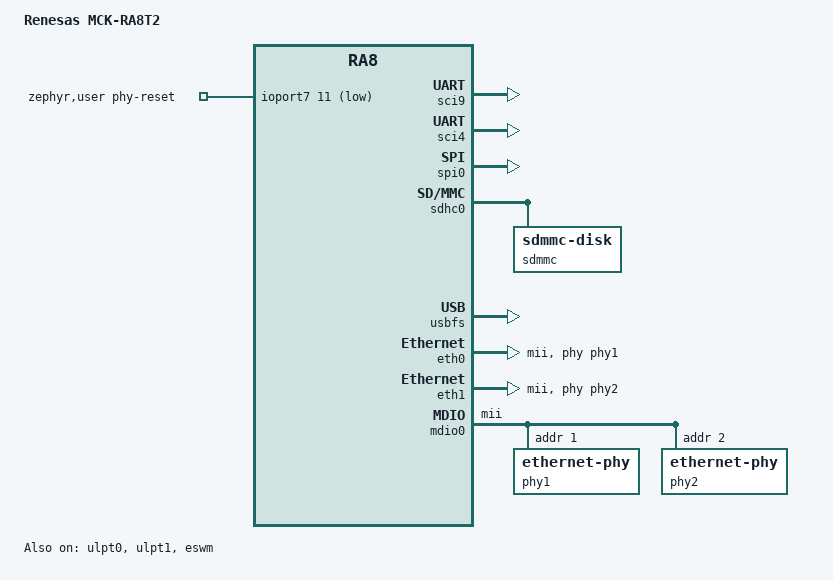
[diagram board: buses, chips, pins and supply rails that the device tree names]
/*
 * Copyright (c) 2025 Renesas Electronics Corporation
 * SPDX-License-Identifier: Apache-2.0
 */

/dts-v1/;

#include <renesas/ra/ra8/r7ka8t2lfecac_cm85.dtsi>
#include "mck_ra8t2.dtsi"

/ {
	model = "Renesas MCK-RA8T2";
	compatible = "renesas,ra8t2", "renesas,ra8";

	chosen {
		zephyr,sram = &sram0;
		zephyr,flash = &code_mram_cm85;
		zephyr,flash-controller = &mram_ctrl;
		zephyr,code-partition = &slot0_partition;
		zephyr,console = &uart9;
		zephyr,shell-uart = &uart9;
		zephyr,entropy = &trng;
	};

	aliases {
		led0 = &led1;
		sdhc0 = &sdhc0;
	};

	zephyr,user {
		phy-reset-gpios = <&ioport7 11 GPIO_ACTIVE_LOW>;
		phy-reset-assert-ms = <200>;
		phy-reset-deassert-ms = <35>;
	};
};

&sci9 {
	pinctrl-0 = <&sci9_default>;
	pinctrl-names = "default";
	interrupts = <0 1>, <1 1>, <2 1>, <3 1>;
	interrupt-names = "rxi", "txi", "tei", "eri";
	status = "okay";

	uart9: uart {
		current-speed = <115200>;
		status = "okay";
	};
};

&sci4 {
	pinctrl-0 = <&sci4_default>;
	pinctrl-names = "default";
	interrupts = <4 1>, <5 1>, <6 1>, <7 1>;
	interrupt-names = "rxi", "txi", "tei", "eri";
	status = "okay";

	uart4: uart {
		current-speed = <115200>;
		status = "okay";
	};
};

&spi0 {
	pinctrl-0 = <&spi0_default>;
	pinctrl-names = "default";
	interrupts = <8 1>, <9 1>, <10 1>, <11 1>;
	interrupt-names = "rxi", "txi", "tei", "eri";
	status = "okay";
};

&ulpt0 {
	interrupts = <12 1>;
	interrupt-names = "ulpti";
	status = "okay";

	timer {
		status = "okay";
	};
};

&ulpt1 {
	status = "okay";

	timer {
		status = "okay";
	};
};

&sdhc0 {
	pinctrl-0 = <&sdhc0_default>;
	pinctrl-names = "default";
	enable-gpios = <&ioportb 6 GPIO_ACTIVE_HIGH>;
	interrupt-names = "accs", "card", "dma-req";
	interrupts = <13 1>, <14 1>, <15 1>;
	status = "okay";

	sdmmc {
		compatible = "zephyr,sdmmc-disk";
		disk-name = "SD";
		status = "okay";
	};
};

&usbfs {
	pinctrl-0 = <&usbfs_default>;
	interrupts = <16 12>, <17 12>;
	interrupt-names = "usbfs-i", "usbfs-r";
	status = "okay";

	zephyr_udc0: udc {
		status = "okay";
	};
};

&code_mram_cm85 {
	partitions {
		compatible = "fixed-partitions";
		#address-cells = <1>;
		#size-cells = <1>;

		boot_partition: partition@0 {
			label = "mcuboot";
			reg = <0x0 DT_SIZE_K(64)>;
		};

		slot0_partition: partition@10000 {
			label = "image-0";
			reg = <0x10000 DT_SIZE_K(464)>;
		};

		slot1_partition: partition@84000 {
			label = "image-1";
			reg = <0x84000 DT_SIZE_K(464)>;
		};

		storage_partition: partition@f8000 {
			label = "storage";
			reg = <0xf8000 DT_SIZE_K(32)>;
		};
	};
};

&eswm {
	status = "okay";
	interrupts = <18 1>;
	interrupt-names = "gwdi";
	pinctrl-0 = <&ethphyclk_default>;
	pinctrl-names = "default";
};

&eth0 {
	phy-connection-type = "mii";
	local-mac-address = [74 90 50 01 02 05];
	phy-clock = <&ethphyclk>;
	phy-clock-type = "internal";
	phy-handle = <&phy1>;
	pinctrl-0 = <&eth0_default>;
	pinctrl-names = "default";
	status = "okay";
};

&eth1 {
	phy-connection-type = "mii";
	local-mac-address = [74 90 50 01 02 06];
	phy-clock = <&ethphyclk>;
	phy-clock-type = "internal";
	phy-handle = <&phy2>;
	pinctrl-0 = <&eth1_default>;
	pinctrl-names = "default";
	status = "okay";
};

&mdio0 {
	pinctrl-0 = <&mdio0_default>;
	pinctrl-names = "default";
	phy-connection-type = "mii";
	status = "okay";

	phy1: phy@1 {
		compatible = "ethernet-phy";
		reg = <1>;
		status = "okay";
	};

	phy2: phy@2 {
		compatible = "ethernet-phy";
		reg = <2>;
		status = "okay";
	};
};
